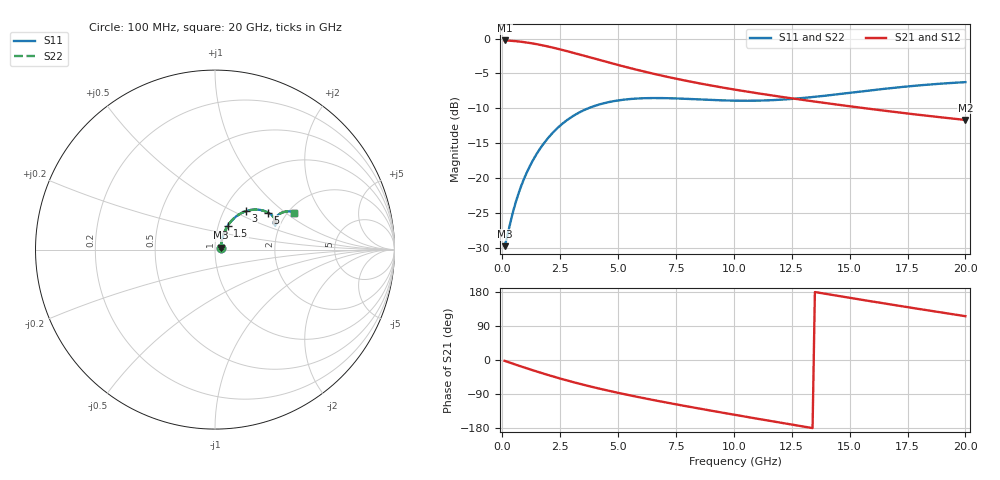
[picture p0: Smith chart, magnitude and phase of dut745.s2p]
! Touchstone file exported from HFSS 2024.1.0
!  File:  C:/UserFiles/LocalFiles/RDL_TSV_Batchsim/temp_RDL_TSV_745_1779896593.aedt
!  Generated:  11:58:23 PM May 27, 2026
!  Design:  RDL_TSV
!  Project:  temp_RDL_TSV_745_1779896593
!  Setup:  Setup1
!  Solution:  Sweep
! Variables:
!  dtsv = 7.95um
!  hbump = 3um
!  htsv = 75.83um
!  ldown = 285.05um
!  lrdl = 662.05um
!  p = 40
!  p1 = 58.02um
!  rhole = 10um
!  subl = 3503.35um
!  t = 450um
!  tdown = 2.05um
!  trdl = 3.1um
!  viad = 10um
!  wdown = 29.11um
!  wrdl = 11.6um
!  xbump = 18um
# GHz S MA R 50.000000
! Terminal data exported
! Port[1] = TM1_1_T1
! Port[2] = TM1_4_T1
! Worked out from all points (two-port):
!   200 points, 100 MHz to 20 GHz, reference 50 ohm
!   highest |S21| = -0.28 dB at 100 MHz (marker M1); lowest = -11.6 dB at 20 GHz (marker M2)
!   |S21| within 3 dB of the highest: start of sweep to 4.429 GHz
!   lowest |S11| = -29.7 dB at 100 MHz (marker M3), VSWR 1.07, Z = 53.2 + j1.07 ohm
!   |S11| at or under -10 dB: start of sweep to 3.697 GHz
!   |S22| runs from -29.7 to -6.2 dB; largest |S21 - S12| = 8.1e-15
!   S11 on the Smith chart (normalised r, x): 100 MHz: 1.06, +0.02; 1.5 GHz: 1.11, +0.30; 3 GHz: 1.27, +0.59; 5 GHz: 1.62, +0.77; 20 GHz: 2.16, +1.16
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0.1  0.03274 17.9  0.9687 -2.1  0.9687 -2.1  0.03274 17.9
! Gamma 0 0 0 0
! Port Impedance 50 0 50 0
0.5  0.06064 52.3  0.9601 -10.6  0.9601 -10.6  0.06064 52.2
0.7  0.07787 57.6  0.9528 -14.7  0.9528 -14.7  0.07787 57.6
1.1  0.1139 61.8  0.9341 -22.8  0.9341 -22.8  0.1139 61.7
1.5  0.151 61.9  0.9102 -30.6  0.9102 -30.6  0.1509 61.8
1.8  0.1785 60.6  0.8897 -36.3  0.8897 -36.3  0.1784 60.6
2.2  0.2138 58.0  0.8597 -43.6  0.8597 -43.6  0.2136 57.9
2.6  0.2464 54.7  0.8281 -50.6  0.8281 -50.6  0.2461 54.6
3  0.2754 51.1  0.7958 -57.3  0.7958 -57.3  0.2751 51.1
3.5  0.306 46.6  0.7557 -65.3  0.7557 -65.3  0.3056 46.5
4.2  0.338 40.6  0.7023 -75.7  0.7023 -75.7  0.3376 40.6
5  0.3609 34.7  0.6469 -86.7  0.6469 -86.7  0.3603 34.7
5.9  0.3729 29.5  0.5928 -98.1  0.5928 -98.1  0.3723 29.4
6.8  0.3752 25.7  0.5469 -108.9  0.5469 -108.9  0.3745 25.6
8.4  0.3675 22.3  0.4819 -127.0  0.4819 -127.0  0.3668 22.3
10.1  0.3593 22.6  0.4296 -145.3  0.4296 -145.3  0.3585 22.6
11.7  0.3627 25.1  0.3905 -162.1  0.3905 -162.1  0.3621 25.1
13.4  0.3815 27.7  0.3558 -179.7  0.3558 -179.7  0.3809 27.7
15.1  0.4106 28.9  0.3262 163.1  0.3262 163.1  0.4102 28.9
16.7  0.4404 28.5  0.3019 147.3  0.3019 147.3  0.44 28.5
18.3  0.4667 27.1  0.2808 131.8  0.2808 131.8  0.4663 27.1
20  0.4876 25.0  0.2618 115.6  0.2618 115.6  0.4872 25.0
